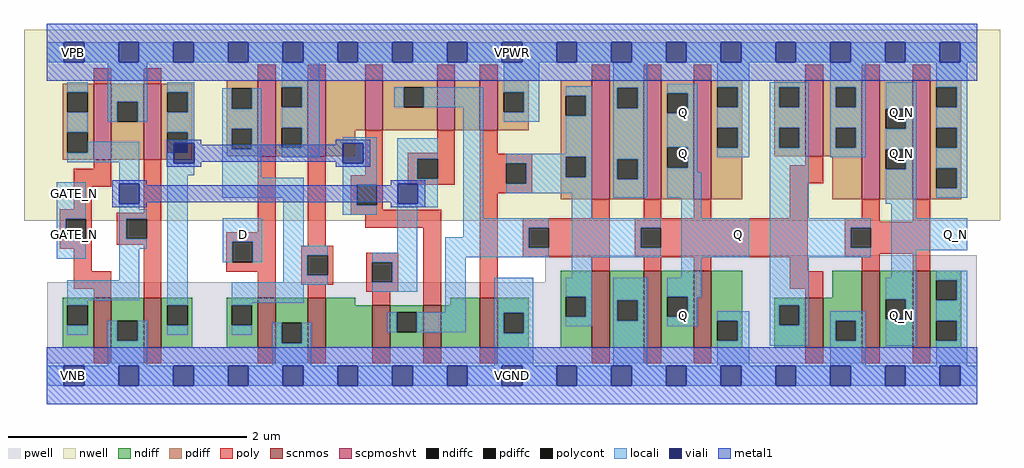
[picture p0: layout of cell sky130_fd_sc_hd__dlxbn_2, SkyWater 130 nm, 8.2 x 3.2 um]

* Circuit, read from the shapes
.subckt sky130_fd_sc_hd__dlxbn_2 D GATE_N VGND VNB VPB VPWR Q Q_N
XM1 VGND GATE_N n1 VNB sky130_fd_pr__nfet_01v8 w=0.42 l=0.15
XM2 n2 n1 VGND VNB sky130_fd_pr__nfet_01v8 w=0.42 l=0.15
XM3 VGND D n3 VNB sky130_fd_pr__nfet_01v8 w=0.42 l=0.15
XM4 n4 n3 VGND VNB sky130_fd_pr__nfet_01v8 w=0.42 l=0.15
XM5 n5 n1 n4 VNB sky130_fd_pr__nfet_01v8 w=0.36 l=0.15
XM6 n6 n2 n5 VNB sky130_fd_pr__nfet_01v8 w=0.36 l=0.15
XM7 VGND n7 n6 VNB sky130_fd_pr__nfet_01v8 w=0.42 l=0.15
XM8 VGND n5 n7 VNB sky130_fd_pr__nfet_01v8 w=0.65 l=0.15
XM9 Q n7 VGND VNB sky130_fd_pr__nfet_01v8 w=0.65 l=0.15 m=2
XM10 VGND n7 n8 VNB sky130_fd_pr__nfet_01v8 w=0.42 l=0.15
XM11 Q_N n8 VGND VNB sky130_fd_pr__nfet_01v8 w=0.65 l=0.15 m=2
XM12 VPWR GATE_N n1 VPB sky130_fd_pr__pfet_01v8_hvt w=0.64 l=0.15
XM13 n2 n1 VPWR VPB sky130_fd_pr__pfet_01v8_hvt w=0.64 l=0.15
XM14 VPWR D n3 VPB sky130_fd_pr__pfet_01v8_hvt w=0.64 l=0.15
XM15 n9 n3 VPWR VPB sky130_fd_pr__pfet_01v8_hvt w=0.64 l=0.15
XM16 n5 n2 n9 VPB sky130_fd_pr__pfet_01v8_hvt w=0.42 l=0.15
XM17 n10 n1 n5 VPB sky130_fd_pr__pfet_01v8_hvt w=0.42 l=0.15
XM18 VPWR n7 n10 VPB sky130_fd_pr__pfet_01v8_hvt w=0.42 l=0.15
XM19 VPWR n5 n7 VPB sky130_fd_pr__pfet_01v8_hvt w=1 l=0.15
XM20 Q n7 VPWR VPB sky130_fd_pr__pfet_01v8_hvt w=1 l=0.15 m=2
XM21 VPWR n7 n8 VPB sky130_fd_pr__pfet_01v8_hvt w=0.64 l=0.15
XM22 Q_N n8 VPWR VPB sky130_fd_pr__pfet_01v8_hvt w=1 l=0.15 m=2
.ends

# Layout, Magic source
magic
tech sky130B
magscale 1 2
<< nwell >>
rect -38 261 1602 582
<< pwell >>
rect 838 157 1563 203
rect 1 21 1563 157
rect 29 -17 63 21
<< scnmos >>
rect 79 47 109 131
rect 163 47 193 131
rect 355 47 385 131
rect 439 47 469 131
rect 547 47 577 119
rect 633 47 663 119
rect 728 47 758 131
rect 916 47 946 177
rect 1003 47 1033 177
rect 1087 47 1117 177
rect 1275 47 1305 131
rect 1370 47 1400 177
rect 1455 47 1485 177
<< scpmoshvt >>
rect 79 363 109 491
rect 163 363 193 491
rect 355 369 385 497
rect 439 369 469 497
rect 535 413 565 497
rect 656 413 686 497
rect 728 413 758 497
rect 916 297 946 497
rect 1003 297 1033 497
rect 1087 297 1117 497
rect 1275 369 1305 497
rect 1370 297 1400 497
rect 1455 297 1485 497
<< ndiff >>
rect 27 119 79 131
rect 27 85 35 119
rect 69 85 79 119
rect 27 47 79 85
rect 109 93 163 131
rect 109 59 119 93
rect 153 59 163 93
rect 109 47 163 59
rect 193 119 245 131
rect 193 85 203 119
rect 237 85 245 119
rect 193 47 245 85
rect 303 119 355 131
rect 303 85 311 119
rect 345 85 355 119
rect 303 47 355 85
rect 385 89 439 131
rect 385 55 395 89
rect 429 55 439 89
rect 385 47 439 55
rect 469 119 519 131
rect 864 133 916 177
rect 678 119 728 131
rect 469 47 547 119
rect 577 107 633 119
rect 577 73 588 107
rect 622 73 633 107
rect 577 47 633 73
rect 663 47 728 119
rect 758 106 810 131
rect 758 72 768 106
rect 802 72 810 106
rect 758 47 810 72
rect 864 99 872 133
rect 906 99 916 133
rect 864 47 916 99
rect 946 127 1003 177
rect 946 93 959 127
rect 993 93 1003 127
rect 946 47 1003 93
rect 1033 133 1087 177
rect 1033 99 1043 133
rect 1077 99 1087 133
rect 1033 47 1087 99
rect 1117 93 1169 177
rect 1320 131 1370 177
rect 1117 59 1127 93
rect 1161 59 1169 93
rect 1117 47 1169 59
rect 1223 119 1275 131
rect 1223 85 1231 119
rect 1265 85 1275 119
rect 1223 47 1275 85
rect 1305 93 1370 131
rect 1305 59 1326 93
rect 1360 59 1370 93
rect 1305 47 1370 59
rect 1400 129 1455 177
rect 1400 95 1410 129
rect 1444 95 1455 129
rect 1400 47 1455 95
rect 1485 161 1537 177
rect 1485 127 1495 161
rect 1529 127 1537 161
rect 1485 93 1537 127
rect 1485 59 1495 93
rect 1529 59 1537 93
rect 1485 47 1537 59
<< pdiff >>
rect 27 477 79 491
rect 27 443 35 477
rect 69 443 79 477
rect 27 409 79 443
rect 27 375 35 409
rect 69 375 79 409
rect 27 363 79 375
rect 109 461 163 491
rect 109 427 119 461
rect 153 427 163 461
rect 109 363 163 427
rect 193 477 245 491
rect 193 443 203 477
rect 237 443 245 477
rect 193 409 245 443
rect 193 375 203 409
rect 237 375 245 409
rect 193 363 245 375
rect 303 483 355 497
rect 303 449 311 483
rect 345 449 355 483
rect 303 415 355 449
rect 303 381 311 415
rect 345 381 355 415
rect 303 369 355 381
rect 385 485 439 497
rect 385 451 395 485
rect 429 451 439 485
rect 385 417 439 451
rect 385 383 395 417
rect 429 383 439 417
rect 385 369 439 383
rect 469 413 535 497
rect 565 485 656 497
rect 565 451 600 485
rect 634 451 656 485
rect 565 413 656 451
rect 686 413 728 497
rect 758 477 810 497
rect 758 443 768 477
rect 802 443 810 477
rect 758 413 810 443
rect 864 471 916 497
rect 864 437 872 471
rect 906 437 916 471
rect 469 369 519 413
rect 864 368 916 437
rect 864 334 872 368
rect 906 334 916 368
rect 864 297 916 334
rect 946 484 1003 497
rect 946 450 959 484
rect 993 450 1003 484
rect 946 364 1003 450
rect 946 330 959 364
rect 993 330 1003 364
rect 946 297 1003 330
rect 1033 475 1087 497
rect 1033 441 1043 475
rect 1077 441 1087 475
rect 1033 384 1087 441
rect 1033 350 1043 384
rect 1077 350 1087 384
rect 1033 297 1087 350
rect 1117 485 1169 497
rect 1117 451 1127 485
rect 1161 451 1169 485
rect 1117 417 1169 451
rect 1117 383 1127 417
rect 1161 383 1169 417
rect 1117 297 1169 383
rect 1223 485 1275 497
rect 1223 451 1231 485
rect 1265 451 1275 485
rect 1223 417 1275 451
rect 1223 383 1231 417
rect 1265 383 1275 417
rect 1223 369 1275 383
rect 1305 485 1370 497
rect 1305 451 1326 485
rect 1360 451 1370 485
rect 1305 417 1370 451
rect 1305 383 1326 417
rect 1360 383 1370 417
rect 1305 369 1370 383
rect 1320 297 1370 369
rect 1400 449 1455 497
rect 1400 415 1410 449
rect 1444 415 1455 449
rect 1400 381 1455 415
rect 1400 347 1410 381
rect 1444 347 1455 381
rect 1400 297 1455 347
rect 1485 485 1537 497
rect 1485 451 1495 485
rect 1529 451 1537 485
rect 1485 417 1537 451
rect 1485 383 1495 417
rect 1529 383 1537 417
rect 1485 349 1537 383
rect 1485 315 1495 349
rect 1529 315 1537 349
rect 1485 297 1537 315
<< ndiffc >>
rect 35 85 69 119
rect 119 59 153 93
rect 203 85 237 119
rect 311 85 345 119
rect 395 55 429 89
rect 588 73 622 107
rect 768 72 802 106
rect 872 99 906 133
rect 959 93 993 127
rect 1043 99 1077 133
rect 1127 59 1161 93
rect 1231 85 1265 119
rect 1326 59 1360 93
rect 1410 95 1444 129
rect 1495 127 1529 161
rect 1495 59 1529 93
<< pdiffc >>
rect 35 443 69 477
rect 35 375 69 409
rect 119 427 153 461
rect 203 443 237 477
rect 203 375 237 409
rect 311 449 345 483
rect 311 381 345 415
rect 395 451 429 485
rect 395 383 429 417
rect 600 451 634 485
rect 768 443 802 477
rect 872 437 906 471
rect 872 334 906 368
rect 959 450 993 484
rect 959 330 993 364
rect 1043 441 1077 475
rect 1043 350 1077 384
rect 1127 451 1161 485
rect 1127 383 1161 417
rect 1231 451 1265 485
rect 1231 383 1265 417
rect 1326 451 1360 485
rect 1326 383 1360 417
rect 1410 415 1444 449
rect 1410 347 1444 381
rect 1495 451 1529 485
rect 1495 383 1529 417
rect 1495 315 1529 349
<< poly >>
rect 79 491 109 517
rect 163 491 193 517
rect 355 497 385 523
rect 439 497 469 523
rect 535 497 565 523
rect 656 497 686 523
rect 728 497 758 523
rect 916 497 946 523
rect 1003 497 1033 523
rect 1087 497 1117 523
rect 1275 497 1305 523
rect 1370 497 1400 523
rect 1455 497 1485 523
rect 79 348 109 363
rect 46 318 109 348
rect 46 280 76 318
rect 22 264 76 280
rect 163 274 193 363
rect 22 230 32 264
rect 66 230 76 264
rect 22 214 76 230
rect 118 264 193 274
rect 118 230 134 264
rect 168 230 193 264
rect 355 241 385 369
rect 118 220 193 230
rect 46 176 76 214
rect 46 146 109 176
rect 79 131 109 146
rect 163 131 193 220
rect 302 225 385 241
rect 302 191 312 225
rect 346 191 385 225
rect 439 219 469 369
rect 535 337 565 413
rect 656 375 686 413
rect 511 321 565 337
rect 607 365 686 375
rect 607 331 623 365
rect 657 331 686 365
rect 607 321 686 331
rect 728 373 758 413
rect 728 357 816 373
rect 728 323 772 357
rect 806 323 816 357
rect 511 287 521 321
rect 555 287 565 321
rect 511 279 565 287
rect 728 307 816 323
rect 511 271 663 279
rect 535 249 663 271
rect 302 175 385 191
rect 355 131 385 175
rect 428 203 482 219
rect 428 169 438 203
rect 472 169 482 203
rect 428 153 482 169
rect 537 191 591 207
rect 537 157 547 191
rect 581 157 591 191
rect 439 131 469 153
rect 537 141 591 157
rect 547 119 577 141
rect 633 119 663 249
rect 728 131 758 307
rect 1275 354 1305 369
rect 1249 324 1305 354
rect 916 265 946 297
rect 1003 265 1033 297
rect 1087 265 1117 297
rect 1249 265 1279 324
rect 1370 265 1400 297
rect 800 249 946 265
rect 800 215 810 249
rect 844 215 946 249
rect 800 199 946 215
rect 988 249 1279 265
rect 988 215 998 249
rect 1032 215 1279 249
rect 988 199 1279 215
rect 1341 259 1400 265
rect 1455 259 1485 297
rect 1341 249 1485 259
rect 1341 215 1351 249
rect 1385 215 1485 249
rect 1341 205 1485 215
rect 1341 199 1400 205
rect 916 177 946 199
rect 1003 177 1033 199
rect 1087 177 1117 199
rect 1249 176 1279 199
rect 1370 177 1400 199
rect 1455 177 1485 205
rect 1249 146 1305 176
rect 1275 131 1305 146
rect 79 21 109 47
rect 163 21 193 47
rect 355 21 385 47
rect 439 21 469 47
rect 547 21 577 47
rect 633 21 663 47
rect 728 21 758 47
rect 916 21 946 47
rect 1003 21 1033 47
rect 1087 21 1117 47
rect 1275 21 1305 47
rect 1370 21 1400 47
rect 1455 21 1485 47
<< polycont >>
rect 32 230 66 264
rect 134 230 168 264
rect 312 191 346 225
rect 623 331 657 365
rect 772 323 806 357
rect 521 287 555 321
rect 438 169 472 203
rect 547 157 581 191
rect 810 215 844 249
rect 998 215 1032 249
rect 1351 215 1385 249
<< locali >>
rect 0 527 29 561
rect 63 527 121 561
rect 155 527 213 561
rect 247 527 305 561
rect 339 527 397 561
rect 431 527 489 561
rect 523 527 581 561
rect 615 527 673 561
rect 707 527 765 561
rect 799 527 857 561
rect 891 527 949 561
rect 983 527 1041 561
rect 1075 527 1133 561
rect 1167 527 1225 561
rect 1259 527 1317 561
rect 1351 527 1409 561
rect 1443 527 1501 561
rect 1535 527 1564 561
rect 35 477 69 493
rect 35 409 69 443
rect 103 461 169 527
rect 103 427 119 461
rect 153 427 169 461
rect 203 477 248 493
rect 395 485 458 527
rect 237 443 248 477
rect 203 409 248 443
rect 69 375 156 393
rect 35 359 156 375
rect 17 264 66 325
rect 17 230 32 264
rect 17 197 66 230
rect 122 323 156 359
rect 122 280 156 289
rect 237 391 248 409
rect 203 357 214 375
rect 203 337 248 357
rect 295 449 311 483
rect 345 449 361 483
rect 295 415 361 449
rect 295 381 311 415
rect 345 381 361 415
rect 122 264 168 280
rect 122 230 134 264
rect 122 214 168 230
rect 122 161 156 214
rect 35 127 156 161
rect 35 119 69 127
rect 203 119 237 337
rect 295 333 361 381
rect 429 451 458 485
rect 584 451 600 485
rect 634 451 734 485
rect 395 417 458 451
rect 429 383 458 417
rect 395 367 458 383
rect 498 391 555 401
rect 532 357 555 391
rect 295 299 432 333
rect 296 225 362 265
rect 296 191 312 225
rect 346 191 362 225
rect 398 219 432 299
rect 498 321 555 357
rect 498 287 521 321
rect 498 271 555 287
rect 589 365 657 399
rect 589 331 623 365
rect 589 323 657 331
rect 589 289 590 323
rect 624 289 657 323
rect 589 283 657 289
rect 398 203 472 219
rect 589 207 623 283
rect 700 265 734 451
rect 768 477 828 527
rect 802 443 828 477
rect 768 427 828 443
rect 872 471 916 487
rect 906 437 916 471
rect 872 373 916 437
rect 772 368 916 373
rect 772 357 872 368
rect 806 334 872 357
rect 906 334 916 368
rect 806 323 916 334
rect 772 307 916 323
rect 882 265 916 307
rect 952 484 1009 527
rect 952 450 959 484
rect 993 450 1009 484
rect 952 364 1009 450
rect 952 330 959 364
rect 993 330 1009 364
rect 952 299 1009 330
rect 1043 475 1093 491
rect 1077 441 1093 475
rect 1043 384 1093 441
rect 1077 350 1093 384
rect 1127 485 1181 527
rect 1161 451 1181 485
rect 1127 417 1181 451
rect 1161 383 1181 417
rect 1127 367 1181 383
rect 1215 485 1281 493
rect 1215 451 1231 485
rect 1265 451 1281 485
rect 1215 417 1281 451
rect 1215 383 1231 417
rect 1265 383 1281 417
rect 1043 342 1093 350
rect 1043 299 1100 342
rect 1066 265 1100 299
rect 1215 265 1281 383
rect 1317 485 1376 527
rect 1317 451 1326 485
rect 1360 451 1376 485
rect 1317 417 1376 451
rect 1317 383 1326 417
rect 1360 383 1376 417
rect 1317 367 1376 383
rect 1410 449 1461 493
rect 1444 415 1461 449
rect 1410 381 1461 415
rect 1444 347 1461 381
rect 1410 289 1461 347
rect 1495 485 1547 527
rect 1529 451 1547 485
rect 1495 417 1547 451
rect 1529 383 1547 417
rect 1495 349 1547 383
rect 1529 315 1547 349
rect 1495 299 1547 315
rect 1419 265 1461 289
rect 700 249 844 265
rect 700 233 810 249
rect 398 169 438 203
rect 398 157 472 169
rect 35 69 69 85
rect 103 59 119 93
rect 153 59 169 93
rect 203 69 237 85
rect 311 153 472 157
rect 547 191 623 207
rect 581 157 623 191
rect 311 123 432 153
rect 547 141 623 157
rect 670 215 810 233
rect 670 199 844 215
rect 882 249 1032 265
rect 882 215 998 249
rect 882 199 1032 215
rect 1066 199 1181 265
rect 1215 249 1385 265
rect 1215 215 1351 249
rect 1215 199 1385 215
rect 1419 211 1547 265
rect 311 119 345 123
rect 670 107 704 199
rect 882 165 916 199
rect 1066 165 1100 199
rect 311 69 345 85
rect 103 17 169 59
rect 379 55 395 89
rect 429 55 445 89
rect 572 73 588 107
rect 622 73 704 107
rect 752 106 818 165
rect 379 17 445 55
rect 752 72 768 106
rect 802 72 818 106
rect 872 133 916 165
rect 906 99 916 133
rect 872 83 916 99
rect 952 127 1009 165
rect 952 93 959 127
rect 993 93 1009 127
rect 752 17 818 72
rect 952 17 1009 93
rect 1043 133 1100 165
rect 1077 132 1100 133
rect 1077 99 1093 132
rect 1215 119 1281 199
rect 1419 165 1461 211
rect 1043 83 1093 99
rect 1127 93 1181 109
rect 1161 59 1181 93
rect 1127 17 1181 59
rect 1215 85 1231 119
rect 1265 85 1281 119
rect 1410 129 1461 165
rect 1215 51 1281 85
rect 1317 93 1376 109
rect 1317 59 1326 93
rect 1360 59 1376 93
rect 1317 17 1376 59
rect 1444 95 1461 129
rect 1410 51 1461 95
rect 1495 161 1547 177
rect 1529 127 1547 161
rect 1495 93 1547 127
rect 1529 59 1547 93
rect 1495 17 1547 59
rect 0 -17 29 17
rect 63 -17 121 17
rect 155 -17 213 17
rect 247 -17 305 17
rect 339 -17 397 17
rect 431 -17 489 17
rect 523 -17 581 17
rect 615 -17 673 17
rect 707 -17 765 17
rect 799 -17 857 17
rect 891 -17 949 17
rect 983 -17 1041 17
rect 1075 -17 1133 17
rect 1167 -17 1225 17
rect 1259 -17 1317 17
rect 1351 -17 1409 17
rect 1443 -17 1501 17
rect 1535 -17 1564 17
<< viali >>
rect 29 527 63 561
rect 121 527 155 561
rect 213 527 247 561
rect 305 527 339 561
rect 397 527 431 561
rect 489 527 523 561
rect 581 527 615 561
rect 673 527 707 561
rect 765 527 799 561
rect 857 527 891 561
rect 949 527 983 561
rect 1041 527 1075 561
rect 1133 527 1167 561
rect 1225 527 1259 561
rect 1317 527 1351 561
rect 1409 527 1443 561
rect 1501 527 1535 561
rect 122 289 156 323
rect 214 375 237 391
rect 237 375 248 391
rect 214 357 248 375
rect 498 357 532 391
rect 590 289 624 323
rect 29 -17 63 17
rect 121 -17 155 17
rect 213 -17 247 17
rect 305 -17 339 17
rect 397 -17 431 17
rect 489 -17 523 17
rect 581 -17 615 17
rect 673 -17 707 17
rect 765 -17 799 17
rect 857 -17 891 17
rect 949 -17 983 17
rect 1041 -17 1075 17
rect 1133 -17 1167 17
rect 1225 -17 1259 17
rect 1317 -17 1351 17
rect 1409 -17 1443 17
rect 1501 -17 1535 17
<< metal1 >>
rect 0 561 1564 592
rect 0 527 29 561
rect 63 527 121 561
rect 155 527 213 561
rect 247 527 305 561
rect 339 527 397 561
rect 431 527 489 561
rect 523 527 581 561
rect 615 527 673 561
rect 707 527 765 561
rect 799 527 857 561
rect 891 527 949 561
rect 983 527 1041 561
rect 1075 527 1133 561
rect 1167 527 1225 561
rect 1259 527 1317 561
rect 1351 527 1409 561
rect 1443 527 1501 561
rect 1535 527 1564 561
rect 0 496 1564 527
rect 202 391 260 397
rect 202 357 214 391
rect 248 388 260 391
rect 486 391 544 397
rect 486 388 498 391
rect 248 360 498 388
rect 248 357 260 360
rect 202 351 260 357
rect 486 357 498 360
rect 532 357 544 391
rect 486 351 544 357
rect 110 323 168 329
rect 110 289 122 323
rect 156 320 168 323
rect 578 323 636 329
rect 578 320 590 323
rect 156 292 590 320
rect 156 289 168 292
rect 110 283 168 289
rect 578 289 590 292
rect 624 289 636 323
rect 578 283 636 289
rect 0 17 1564 48
rect 0 -17 29 17
rect 63 -17 121 17
rect 155 -17 213 17
rect 247 -17 305 17
rect 339 -17 397 17
rect 431 -17 489 17
rect 523 -17 581 17
rect 615 -17 673 17
rect 707 -17 765 17
rect 799 -17 857 17
rect 891 -17 949 17
rect 983 -17 1041 17
rect 1075 -17 1133 17
rect 1167 -17 1225 17
rect 1259 -17 1317 17
rect 1351 -17 1409 17
rect 1443 -17 1501 17
rect 1535 -17 1564 17
rect 0 -48 1564 -17
<< labels >>
flabel locali s 314 221 348 255 0 FreeSans 200 0 0 0 D
port 1 nsew signal input
flabel locali s 30 221 64 255 0 FreeSans 200 0 0 0 GATE_N
port 2 nsew clock input
flabel locali s 1054 357 1088 391 0 FreeSans 200 0 0 0 Q
port 7 nsew signal output
flabel locali s 30 289 64 323 0 FreeSans 200 0 0 0 GATE_N
port 2 nsew clock input
flabel locali s 1054 425 1088 459 0 FreeSans 200 0 0 0 Q
port 7 nsew signal output
flabel locali s 1054 85 1088 119 0 FreeSans 200 0 0 0 Q
port 7 nsew signal output
flabel locali s 1146 221 1180 255 0 FreeSans 200 0 0 0 Q
port 7 nsew signal output
flabel locali s 1511 221 1545 255 0 FreeSans 200 0 0 0 Q_N
port 8 nsew signal output
flabel locali s 1419 425 1453 459 0 FreeSans 200 0 0 0 Q_N
port 8 nsew signal output
flabel locali s 1419 357 1453 391 0 FreeSans 200 0 0 0 Q_N
port 8 nsew signal output
flabel locali s 1419 85 1453 119 0 FreeSans 200 0 0 0 Q_N
port 8 nsew signal output
flabel pwell s 29 -17 63 17 0 FreeSans 200 0 0 0 VNB
port 4 nsew ground bidirectional
flabel nwell s 29 527 63 561 0 FreeSans 200 0 0 0 VPB
port 5 nsew power bidirectional
flabel metal1 s 29 527 63 561 0 FreeSans 200 0 0 0 VPWR
port 6 nsew power bidirectional abutment
flabel metal1 s 29 -17 63 17 0 FreeSans 200 0 0 0 VGND
port 3 nsew ground bidirectional abutment
rlabel comment s 0 0 0 0 4 dlxbn_2
rlabel metal1 s 0 -48 1564 48 1 VGND
port 3 nsew ground bidirectional abutment
rlabel metal1 s 0 496 1564 592 1 VPWR
port 6 nsew power bidirectional abutment
<< properties >>
string FIXED_BBOX 0 0 1564 544
string GDS_END 2821480
string GDS_FILE $PDKPATH/libs.ref/sky130_fd_sc_hd/gds/sky130_fd_sc_hd.gds
string GDS_START 2808624
string LEFclass CORE
string LEFsite unithd
string LEFsymmetry X Y R90
string path 0.000 13.600 39.100 13.600 
<< end >>
